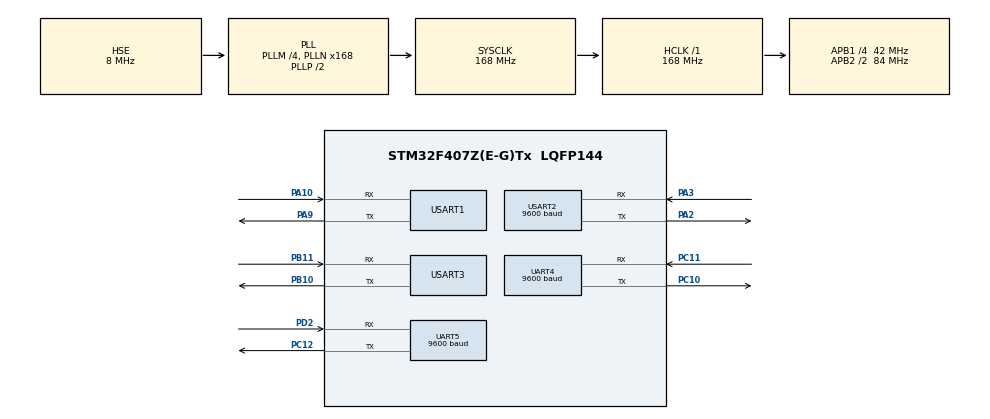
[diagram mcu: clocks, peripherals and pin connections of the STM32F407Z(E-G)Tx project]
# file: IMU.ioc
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Dma.Request0=USART3_RX
Dma.Request1=USART2_RX
Dma.Request2=UART4_RX
Dma.Request3=UART5_RX
Dma.UART4_RX.2.Direction=DMA_PERIPH_TO_MEMORY
Dma.UART4_RX.2.FIFOMode=DMA_FIFOMODE_DISABLE
Dma.UART4_RX.2.Instance=DMA1_Stream2
Dma.UART4_RX.2.MemDataAlignment=DMA_MDATAALIGN_BYTE
Dma.UART4_RX.2.MemInc=DMA_MINC_ENABLE
Dma.UART4_RX.2.Mode=DMA_NORMAL
Dma.UART4_RX.2.PeriphDataAlignment=DMA_PDATAALIGN_BYTE
Dma.UART4_RX.2.PeriphInc=DMA_PINC_DISABLE
Dma.UART4_RX.2.Priority=DMA_PRIORITY_LOW
Dma.UART5_RX.3.Direction=DMA_PERIPH_TO_MEMORY
Dma.UART5_RX.3.FIFOMode=DMA_FIFOMODE_DISABLE
Dma.UART5_RX.3.Instance=DMA1_Stream0
Dma.UART5_RX.3.MemDataAlignment=DMA_MDATAALIGN_BYTE
Dma.UART5_RX.3.MemInc=DMA_MINC_ENABLE
Dma.UART5_RX.3.Mode=DMA_NORMAL
Dma.UART5_RX.3.PeriphDataAlignment=DMA_PDATAALIGN_BYTE
Dma.UART5_RX.3.PeriphInc=DMA_PINC_DISABLE
Dma.UART5_RX.3.Priority=DMA_PRIORITY_LOW
Dma.USART2_RX.1.Direction=DMA_PERIPH_TO_MEMORY
Dma.USART2_RX.1.FIFOMode=DMA_FIFOMODE_DISABLE
Dma.USART2_RX.1.Instance=DMA1_Stream5
Dma.USART2_RX.1.MemDataAlignment=DMA_MDATAALIGN_BYTE
Dma.USART2_RX.1.MemInc=DMA_MINC_ENABLE
Dma.USART2_RX.1.Mode=DMA_NORMAL
Dma.USART2_RX.1.PeriphDataAlignment=DMA_PDATAALIGN_BYTE
Dma.USART2_RX.1.PeriphInc=DMA_PINC_DISABLE
Dma.USART2_RX.1.Priority=DMA_PRIORITY_LOW
Dma.USART3_RX.0.Direction=DMA_PERIPH_TO_MEMORY
Dma.USART3_RX.0.FIFOMode=DMA_FIFOMODE_DISABLE
Dma.USART3_RX.0.Instance=DMA1_Stream1
Dma.USART3_RX.0.MemDataAlignment=DMA_MDATAALIGN_BYTE
Dma.USART3_RX.0.MemInc=DMA_MINC_ENABLE
Dma.USART3_RX.0.Mode=DMA_NORMAL
Dma.USART3_RX.0.PeriphDataAlignment=DMA_PDATAALIGN_BYTE
Dma.USART3_RX.0.PeriphInc=DMA_PINC_DISABLE
Dma.USART3_RX.0.Priority=DMA_PRIORITY_LOW
Mcu.Family=STM32F4
Mcu.Name=STM32F407Z(E-G)Tx
Mcu.Package=LQFP144
NVIC.DMA1_Stream0_IRQn=true\:0\:0\:false\:false\:true\:false\:true\:true
NVIC.DMA1_Stream1_IRQn=true\:0\:0\:false\:false\:true\:false\:true\:true
NVIC.DMA1_Stream2_IRQn=true\:0\:0\:false\:false\:true\:false\:true\:true
NVIC.DMA1_Stream5_IRQn=true\:0\:0\:false\:false\:true\:false\:true\:true
NVIC.PriorityGroup=NVIC_PRIORITYGROUP_4
NVIC.UART4_IRQn=true\:0\:0\:false\:false\:true\:true\:true\:true
NVIC.UART5_IRQn=true\:0\:0\:false\:false\:true\:true\:true\:true
NVIC.USART1_IRQn=true\:0\:0\:false\:false\:true\:true\:true\:true
NVIC.USART2_IRQn=true\:0\:0\:false\:false\:true\:true\:true\:true
NVIC.USART3_IRQn=true\:0\:0\:false\:false\:true\:true\:true\:true
PA10.Mode=Asynchronous
PA10.Signal=USART1_RX
PA13.Mode=Serial_Wire
PA13.Signal=SYS_JTMS-SWDIO
PA14.Mode=Serial_Wire
PA14.Signal=SYS_JTCK-SWCLK
PA2.Mode=Asynchronous
PA2.Signal=USART2_TX
PA3.Mode=Asynchronous
PA3.Signal=USART2_RX
PA9.Mode=Asynchronous
PA9.Signal=USART1_TX
PB10.Mode=Asynchronous
PB10.Signal=USART3_TX
PB11.Mode=Asynchronous
PB11.Signal=USART3_RX
PC10.Mode=Asynchronous
PC10.Signal=UART4_TX
PC11.Mode=Asynchronous
PC11.Signal=UART4_RX
PC12.Mode=Asynchronous
PC12.Signal=UART5_TX
PC14-OSC32_IN.Mode=LSE-External-Oscillator
PC14-OSC32_IN.Signal=RCC_OSC32_IN
PC15-OSC32_OUT.Mode=LSE-External-Oscillator
PC15-OSC32_OUT.Signal=RCC_OSC32_OUT
PD2.Mode=Asynchronous
PD2.Signal=UART5_RX
PH0-OSC_IN.Mode=HSE-External-Oscillator
PH0-OSC_IN.Signal=RCC_OSC_IN
PH1-OSC_OUT.Mode=HSE-External-Oscillator
PH1-OSC_OUT.Signal=RCC_OSC_OUT
ProjectManager.HeapSize=0x200
ProjectManager.StackSize=0x400
ProjectManager.TargetToolchain=CMake
RCC.48MHZClocksFreq_Value=84000000
RCC.AHBFreq_Value=168000000
RCC.APB1CLKDivider=RCC_HCLK_DIV4
RCC.APB1Freq_Value=42000000
RCC.APB1TimFreq_Value=84000000
RCC.APB2CLKDivider=RCC_HCLK_DIV2
RCC.APB2Freq_Value=84000000
RCC.APB2TimFreq_Value=168000000
RCC.CortexFreq_Value=168000000
RCC.HCLKFreq_Value=168000000
RCC.HSE_VALUE=8000000
RCC.HSI_VALUE=16000000
RCC.PLLM=4
RCC.PLLN=168
RCC.PLLSourceVirtual=RCC_PLLSOURCE_HSE
RCC.SYSCLKFreq_VALUE=168000000
RCC.SYSCLKSource=RCC_SYSCLKSOURCE_PLLCLK
RCC.VCOOutputFreq_Value=336000000
UART4.BaudRate=9600
UART4.VirtualMode=Asynchronous
UART5.BaudRate=9600
UART5.VirtualMode=Asynchronous
USART1.VirtualMode=VM_ASYNC
USART2.BaudRate=9600
USART2.VirtualMode=VM_ASYNC
USART3.VirtualMode=VM_ASYNC
board=custom

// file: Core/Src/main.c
/* USER CODE BEGIN Header */
/**
  ******************************************************************************
  * @file           : main.c
  * @brief          : Main program body
  ******************************************************************************
  * @attention
  *
  * Copyright (c) 2026 STMicroelectronics.
  * All rights reserved.
  *
  * This software is licensed under terms that can be found in the LICENSE file
  * in the root directory of this software component.
  * If no LICENSE file comes with this software, it is provided AS-IS.
  *
  ******************************************************************************
  */
/* USER CODE END Header */
#include "main.h"
#include "dma.h"
#include "usart.h"
#include "gpio.h"

/* USER CODE BEGIN Includes */
#include "imu_sdk.h"
#include <stdio.h>
/* USER CODE END Includes */

/* USER CODE BEGIN PV */
#define GYRO_COUNT  4  // Configure number of active gyroscopes here (1 to 5)
#define DEBUG_PRINT_MODE  1  // 1: ASCII Debug Print to PC, 0: Binary RS485 Transmit to Host
#define SLAVE_TX_INTERVAL_MS 40 // 40ms interval (25Hz) - extremely safe for 115200 baud

typedef struct {
    float acc[3];
    float gyro[3];
    float angle[3];
    float mag[3];
    float temp;
    uint32_t timestamp;
} GyroData_t;

typedef struct {
    UART_HandleTypeDef *huart;
    uint8_t rx_buf[64];
    GyroData_t data;
    volatile uint8_t updated;
} GyroDevice_t;

GyroDevice_t g_gyros[GYRO_COUNT];

// List of available UART handles in order of index (unused are set to NULL)
UART_HandleTypeDef *const g_huart_list[5] = {
    &huart2,  // Gyro 1 (USART2)
    &huart3,  // Gyro 2 (USART3)
    &huart4,  // Gyro 3 (UART4)
    &huart5,  // Gyro 4 (UART5)
    NULL      // Gyro 5 (USART6 - Not enabled yet)
};

#pragma pack(push, 1)
typedef struct {
    float acc[3];      // 12 bytes
    float gyro[3];     // 12 bytes
    float angle[3];    // 12 bytes
    float mag[3];      // 12 bytes
    float temp;        // 4 bytes
} GyroPacket_t;        // 52 bytes

typedef struct {
    uint8_t header[2];  // 0xAA, 0xBB (2 bytes)
    uint32_t timestamp; // Slave system tick (4 bytes)
    GyroPacket_t gyros[4]; // 4 gyroscopes (208 bytes)
    uint8_t checksum;   // Sum checksum of all preceding bytes (1 byte)
    uint8_t tail;       // 0xEE (1 byte)
} SlaveFrame_t;        // Total: 216 bytes
#pragma pack(pop)
/* USER CODE END PV */

void SystemClock_Config(void);

/* USER CODE BEGIN 0 */
// Redirect printf to USART1 under GCC (VS Code)
int _write(int file, char *ptr, int len) {
    HAL_UART_Transmit(&huart1, (uint8_t*)ptr, len, 0xFFFF);
    return len;
}

// Pack 4 gyroscopes' data into a binary frame and transmit over USART1
void SendSlaveDataToHost(void) {
    SlaveFrame_t frame;
    frame.header[0] = 0xAA;
    frame.header[1] = 0xBB;
    frame.timestamp = HAL_GetTick();

    for (int i = 0; i < 4; i++) {
        memcpy(frame.gyros[i].acc, g_gyros[i].data.acc, sizeof(frame.gyros[i].acc));
        memcpy(frame.gyros[i].gyro, g_gyros[i].data.gyro, sizeof(frame.gyros[i].gyro));
        memcpy(frame.gyros[i].angle, g_gyros[i].data.angle, sizeof(frame.gyros[i].angle));
        memcpy(frame.gyros[i].mag, g_gyros[i].data.mag, sizeof(frame.gyros[i].mag));
        frame.gyros[i].temp = g_gyros[i].data.temp;
    }

    // Calculate checksum (sum of all bytes from timestamp to gyros)
    uint8_t sum = 0;
    uint8_t *ptr = (uint8_t*)&frame;
    for (uint32_t i = 2; i < sizeof(SlaveFrame_t) - 2; i++) {
        sum += ptr[i];
    }
    frame.checksum = sum;
    frame.tail = 0xEE;

    // Transmit over USART1
    HAL_UART_Transmit(&huart1, (uint8_t*)&frame, sizeof(SlaveFrame_t), 100);
}

// Custom Wit-Motion packet parser
void ParseGyroBuffer(GyroDevice_t *device, uint16_t len) {
    uint16_t i = 0;
    while (i + 11 <= len) {
        if (device->rx_buf[i] != 0x55) {
            i++;
            continue;
        }
        uint8_t sum = 0;
        for (uint16_t j = 0; j < 10; j++) {
            sum += device->rx_buf[i + j];
        }
        if (sum == device->rx_buf[i + 10]) {
            uint8_t *pkg = &(device->rx_buf[i]);
            uint8_t pkg_type = pkg[1];
            int16_t d0 = (int16_t)((pkg[3] << 8) | pkg[2]);
            int16_t d1 = (int16_t)((pkg[5] << 8) | pkg[4]);
            int16_t d2 = (int16_t)((pkg[7] << 8) | pkg[6]);
            int16_t d3 = (int16_t)((pkg[9] << 8) | pkg[8]);

            switch (pkg_type) {
                case 0x51: // Acceleration
                    device->data.acc[0] = d0 / 32768.0f * 16.0f;
                    device->data.acc[1] = d1 / 32768.0f * 16.0f;
                    device->data.acc[2] = d2 / 32768.0f * 16.0f;
                    device->data.temp   = d3 / 100.0f;
                    break;
                case 0x52: // Angular Velocity (Gyro)
                    device->data.gyro[0] = d0 / 32768.0f * 2000.0f;
                    device->data.gyro[1] = d1 / 32768.0f * 2000.0f;
                    device->data.gyro[2] = d2 / 32768.0f * 2000.0f;
                    break;
                case 0x53: // Angle
                    device->data.angle[0] = d0 / 32768.0f * 180.0f;
                    device->data.angle[1] = d1 / 32768.0f * 180.0f;
                    device->data.angle[2] = d2 / 32768.0f * 180.0f;
                    device->updated = 1;
                    break;
                case 0x54: // Magnetic Field (mG)
                    device->data.mag[0] = (float)d0;
                    device->data.mag[1] = (float)d1;
                    device->data.mag[2] = (float)d2;
                    break;
                default:
                    break;
            }
            i += 11;
        } else {
            i++;
        }
    }
}

// Callback for receive idle / half-cplt / cplt events
void HAL_UARTEx_RxEventCallback(UART_HandleTypeDef *huart, uint16_t Size) {
    for (int i = 0; i < GYRO_COUNT; i++) {
        if (g_gyros[i].huart != NULL && huart->Instance == g_gyros[i].huart->Instance) {
            // Capture hardware timestamp
            g_gyros[i].data.timestamp = HAL_GetTick();

            // Parse buffer
            ParseGyroBuffer(&g_gyros[i], Size);

            // Restart DMA Idle reception
            HAL_UARTEx_ReceiveToIdle_DMA(g_gyros[i].huart, g_gyros[i].rx_buf, sizeof(g_gyros[i].rx_buf));
            break;
        }
    }
}

// Configurable Initialization helper
void Gyro_System_Init(void) {
    for (int i = 0; i < GYRO_COUNT; i++) {
        g_gyros[i].huart = g_huart_list[i];
        g_gyros[i].updated = 0;
        memset(&(g_gyros[i].data), 0, sizeof(GyroData_t));

        if (g_gyros[i].huart != NULL) {
            // Start DMA receive to idle
            HAL_UARTEx_ReceiveToIdle_DMA(g_gyros[i].huart, g_gyros[i].rx_buf, sizeof(g_gyros[i].rx_buf));
        }
    }
}

// DMA Watchdog to self-recover from hangs
void CheckAndRecoverDMA(void) {
    static uint32_t last_check = 0;
    uint32_t now = HAL_GetTick();
    if (now - last_check > 500) {
        last_check = now;
        for (int i = 0; i < GYRO_COUNT; i++) {
            if (g_gyros[i].huart != NULL) {
                // If the UART state is READY, it means the DMA was stopped due to an error/hang
                if (g_gyros[i].huart->RxState == HAL_UART_STATE_READY) {
                    HAL_UART_AbortReceive(g_gyros[i].huart);
                    HAL_UARTEx_ReceiveToIdle_DMA(g_gyros[i].huart, g_gyros[i].rx_buf, sizeof(g_gyros[i].rx_buf));
                    printf("Warning: DMA channel %d recovered!\r\n", i);
                }
            }
        }
    }
}
/* USER CODE END 0 */

int main(void)
{

  /* MCU Configuration--------------------------------------------------------*/

  /* Reset of all peripherals, Initializes the Flash interface and the Systick. */
  HAL_Init();

  /* Configure the system clock */
  SystemClock_Config();

  /* Initialize all configured peripherals */
  MX_GPIO_Init();
  MX_DMA_Init();
  MX_USART1_UART_Init();
  MX_USART2_UART_Init();
  MX_USART3_UART_Init();
  MX_UART4_Init();
  MX_UART5_Init();
  /* USER CODE BEGIN 2 */
  Gyro_System_Init();
  printf("Multi-Gyroscope (%d channels) System Started!\r\n", GYRO_COUNT);
  /* USER CODE END 2 */

  /* Infinite loop */
  while (1)
  {

    /* USER CODE BEGIN 3 */
    CheckAndRecoverDMA();

    #if DEBUG_PRINT_MODE
    // Check and print data for each gyroscope dynamically (ASCII mode)
    for (int i = 0; i < GYRO_COUNT; i++) {
        if (g_gyros[i].updated) {
            g_gyros[i].updated = 0;
            printf("Gyro[%d] [T:%lu] Acc: %.3f %.3f %.3f | Gyro: %.3f %.3f %.3f | Angle: %.2f %.2f %.2f | Mag: %.1f %.1f %.1f\r\n",
                   i, g_gyros[i].data.timestamp,
                   g_gyros[i].data.acc[0], g_gyros[i].data.acc[1], g_gyros[i].data.acc[2],
                   g_gyros[i].data.gyro[0], g_gyros[i].data.gyro[1], g_gyros[i].data.gyro[2],
                   g_gyros[i].data.angle[0], g_gyros[i].data.angle[1], g_gyros[i].data.angle[2],
                   g_gyros[i].data.mag[0], g_gyros[i].data.mag[1], g_gyros[i].data.mag[2]);
        }
    }
    #else
    // Binary communication mode: Pack and send at SLAVE_TX_INTERVAL_MS (25Hz)
    static uint32_t last_tx = 0;
    uint32_t now = HAL_GetTick();
    if (now - last_tx >= SLAVE_TX_INTERVAL_MS) {
        last_tx = now;
        SendSlaveDataToHost();
    }
    #endif
    HAL_Delay(1); // Sleep briefly
  }
  /* USER CODE END 3 */
}

void SystemClock_Config(void)
{
  RCC_OscInitTypeDef RCC_OscInitStruct = {0};
  RCC_ClkInitTypeDef RCC_ClkInitStruct = {0};

  /** Configure the main internal regulator output voltage
  */
  __HAL_RCC_PWR_CLK_ENABLE();
  __HAL_PWR_VOLTAGESCALING_CONFIG(PWR_REGULATOR_VOLTAGE_SCALE1);

  /** Initializes the RCC Oscillators according to the specified parameters
  * in the RCC_OscInitTypeDef structure.
  */
  RCC_OscInitStruct.OscillatorType = RCC_OSCILLATORTYPE_HSE;
  RCC_OscInitStruct.HSEState = RCC_HSE_ON;
  RCC_OscInitStruct.PLL.PLLState = RCC_PLL_ON;
  RCC_OscInitStruct.PLL.PLLSource = RCC_PLLSOURCE_HSE;
  RCC_OscInitStruct.PLL.PLLM = 4;
  RCC_OscInitStruct.PLL.PLLN = 168;
  RCC_OscInitStruct.PLL.PLLP = RCC_PLLP_DIV2;
  RCC_OscInitStruct.PLL.PLLQ = 4;
  if (HAL_RCC_OscConfig(&RCC_OscInitStruct) != HAL_OK)
  {
    Error_Handler();
  }

  /** Initializes the CPU, AHB and APB buses clocks
  */
  RCC_ClkInitStruct.ClockType = RCC_CLOCKTYPE_HCLK|RCC_CLOCKTYPE_SYSCLK
                              |RCC_CLOCKTYPE_PCLK1|RCC_CLOCKTYPE_PCLK2;
  RCC_ClkInitStruct.SYSCLKSource = RCC_SYSCLKSOURCE_PLLCLK;
  RCC_ClkInitStruct.AHBCLKDivider = RCC_SYSCLK_DIV1;
  RCC_ClkInitStruct.APB1CLKDivider = RCC_HCLK_DIV4;
  RCC_ClkInitStruct.APB2CLKDivider = RCC_HCLK_DIV2;

  if (HAL_RCC_ClockConfig(&RCC_ClkInitStruct, FLASH_LATENCY_5) != HAL_OK)
  {
    Error_Handler();
  }
}

void Error_Handler(void)
{
  __disable_irq();
  while (1)
  {
  }
}
